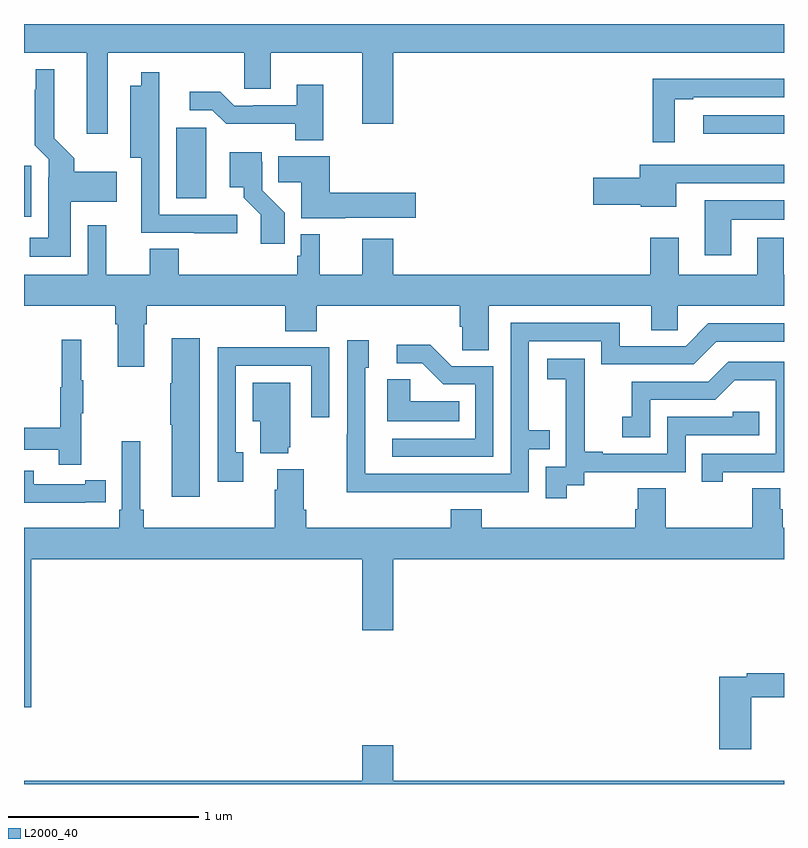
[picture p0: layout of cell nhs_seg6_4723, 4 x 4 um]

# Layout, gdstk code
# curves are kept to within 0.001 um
import gdstk
lib = gdstk.Library(unit=1e-6, precision=1e-09)
def R(c, l, rs):  # rectangles x0, y0, x1, y1
    for r in rs: c.add(gdstk.rectangle(r[:2], r[2:], *l))
def P(c, l, *ps):  # polygons
    for p in ps: c.add(gdstk.Polygon(p, *l))
L2000_40 = (2000, 40)

nhs_seg6_4723 = lib.new_cell('nhs_seg6_4723')
R(nhs_seg6_4723, L2000_40, [(391,934.485,391.039,934.753), (391.802,934.582,391.96,934.953), (394.575,934.922,395,935.019)])
P(nhs_seg6_4723, L2000_40, [(391.441,935.348),(392.16,935.348),(392.16,935.158),(392.299,935.158),(392.299,935.348),(392.78,935.348),(392.78,934.974),(392.944,934.974),(392.944,935.348),(395,935.348),(395,935.5),(391,935.5),(391,935.348),(391.331,935.348),(391.331,934.923),(391.441,934.923)],
  [(391.246,934.565),(391.489,934.565),(391.489,934.723),(391.264,934.723),(391.264,934.794),(391.159,934.9),(391.159,935.263),(391.061,935.263),(391.061,935.153),(391.057,935.153),(391.057,934.862),(391.131,934.788),(391.131,934.694),(391.127,934.694),(391.127,934.375),(391.029,934.375),(391.029,934.274),(391.246,934.274)],
  [(392.122,934.497),(391.713,934.497),(391.713,935.245),(391.616,935.245),(391.616,935.176),(391.559,935.176),(391.559,934.796),(391.617,934.796),(391.617,934.401),(391.897,934.401),(391.897,934.399),(392.122,934.399)],
  [(394.426,935.103),(394.522,935.103),(394.522,935.115),(395,935.115),(395,935.212),(394.309,935.212),(394.309,934.878),(394.426,934.878)],
  [(392.575,935.179),(392.435,935.179),(392.435,935.073),(392.206,935.073),(392.206,935.07),(392.106,935.07),(392.033,935.143),(391.872,935.143),(391.872,935.046),(391.992,935.046),(392.065,934.974),(392.428,934.974),(392.428,934.889),(392.575,934.889)],
  [(392.372,934.506),(392.253,934.625),(392.253,934.776),(392.251,934.776),(392.251,934.825),(392.084,934.825),(392.084,934.64),(392.156,934.64),(392.156,934.585),(392.247,934.495),(392.247,934.344),(392.372,934.344)],
  [(392.692,934.481),(393.061,934.481),(393.061,934.611),(392.609,934.611),(392.609,934.804),(392.338,934.804),(392.338,934.666),(392.459,934.666),(392.459,934.478),(392.692,934.478)],
  [(394.432,934.662),(395,934.662),(395,934.759),(394.241,934.759),(394.241,934.691),(393.996,934.691),(393.996,934.549),(394.245,934.549),(394.245,934.538),(394.432,934.538)],
  [(394.723,934.471),(395,934.471),(395,934.572),(394.583,934.572),(394.583,934.284),(394.723,934.284)],
  [(391.633,933.92),(391.646,933.92),(391.646,934.016),(392.375,934.016),(392.375,933.883),(392.54,933.883),(392.54,934.016),(393.293,934.016),(393.293,933.907),(393.306,933.907),(393.306,933.784),(393.445,933.784),(393.445,934.016),(394.301,934.016),(394.301,933.889),(394.44,933.889),(394.44,934.016),(395,934.016),(395,934.18),(394.999,934.18),(394.999,934.375),(394.859,934.375),(394.859,934.18),(394.447,934.18),(394.447,934.375),(394.295,934.375),(394.295,934.18),(392.944,934.18),(392.944,934.369),(392.78,934.369),(392.78,934.18),(392.556,934.18),(392.556,934.393),(392.457,934.393),(392.457,934.281),(392.437,934.281),(392.437,934.18),(391.814,934.18),(391.814,934.316),(391.661,934.316),(391.661,934.18),(391.434,934.18),(391.434,934.441),(391.335,934.441),(391.335,934.18),(391,934.18),(391,934.016),(391.481,934.016),(391.481,933.92),(391.493,933.92),(391.493,933.696),(391.633,933.696)],
  [(393.161,933.036),(393.657,933.036),(393.657,933.261),(393.767,933.261),(393.767,933.362),(393.657,933.362),(393.657,933.831),(394.038,933.831),(394.038,933.708),(394.524,933.708),(394.644,933.828),(395,933.828),(395,933.924),(394.602,933.924),(394.482,933.804),(394.135,933.804),(394.135,933.927),(393.561,933.927),(393.561,933.132),(392.796,933.132),(392.796,933.69),(392.815,933.69),(392.815,933.835),(392.7,933.835),(392.7,933.341),(392.698,933.341),(392.698,933.035)],
  [(391.924,933.847),(391.778,933.847),(391.778,933.608),(391.771,933.608),(391.771,933.391),(391.778,933.391),(391.778,933.012),(391.924,933.012)],
  [(391.301,933.451),(391.312,933.451),(391.312,933.625),(391.301,933.625),(391.301,933.838),(391.198,933.838),(391.198,933.588),(391.191,933.588),(391.191,933.374),(391,933.374),(391,933.258),(391.183,933.258),(391.183,933.18),(391.301,933.18)],
  [(393.471,933.699),(393.252,933.699),(393.139,933.812),(392.961,933.812),(392.961,933.714),(393.095,933.714),(393.206,933.603),(393.375,933.603),(393.375,933.318),(392.937,933.318),(392.937,933.222),(393.471,933.222)],
  [(392.155,933.246),(392.115,933.246),(392.115,933.702),(392.511,933.702),(392.511,933.429),(392.607,933.429),(392.607,933.798),(392.291,933.798),(392.291,933.8),(392.019,933.8),(392.019,933.09),(392.155,933.09)],
  [(393.856,933.073),(393.948,933.073),(393.948,933.141),(394.482,933.141),(394.482,933.336),(394.871,933.336),(394.871,933.459),(394.731,933.459),(394.731,933.432),(394.386,933.432),(394.386,933.237),(394.045,933.237),(394.045,933.25),(393.95,933.25),(393.95,933.533),(393.951,933.533),(393.951,933.739),(393.753,933.739),(393.753,933.629),(393.851,933.629),(393.851,933.401),(393.852,933.401),(393.852,933.171),(393.747,933.171),(393.747,933.003),(393.856,933.003)],
  [(394.678,933.141),(395,933.141),(395,933.723),(394.706,933.723),(394.601,933.618),(394.198,933.618),(394.198,933.433),(394.149,933.433),(394.149,933.324),(394.296,933.324),(394.296,933.522),(394.638,933.522),(394.742,933.626),(394.956,933.626),(394.956,933.237),(394.567,933.237),(394.567,933.09),(394.678,933.09)],
  [(393.29,933.514),(393.033,933.514),(393.033,933.629),(392.912,933.629),(392.912,933.41),(393.29,933.41)],
  [(392.39,933.273),(392.401,933.273),(392.401,933.613),(392.204,933.613),(392.204,933.41),(392.243,933.41),(392.243,933.242),(392.39,933.242)],
  [(392.78,932.31),(392.944,932.31),(392.944,932.684),(395,932.684),(395,932.848),(394.994,932.848),(394.994,932.946),(394.981,932.946),(394.981,933.056),(394.834,933.056),(394.834,932.848),(394.377,932.848),(394.377,933.056),(394.229,933.056),(394.229,932.946),(394.217,932.946),(394.217,932.848),(393.41,932.848),(393.41,932.947),(393.245,932.947),(393.245,932.848),(392.486,932.848),(392.486,932.944),(392.473,932.944),(392.473,933.157),(392.333,933.157),(392.333,933.05),(392.321,933.05),(392.321,932.848),(391.631,932.848),(391.631,932.944),(391.612,932.944),(391.612,933.304),(391.515,933.304),(391.515,932.944),(391.502,932.944),(391.502,932.848),(391,932.848),(391,931.905),(391.037,931.905),(391.037,932.684),(392.78,932.684)],
  [(391.322,932.982),(391.43,932.982),(391.43,933.098),(391.322,933.098),(391.322,933.078),(391.05,933.078),(391.05,933.15),(391,933.15),(391,932.981),(391.322,932.981)],
  [(394.828,931.956),(395,931.956),(395,932.084),(394.804,932.084),(394.804,932.064),(394.658,932.064),(394.658,931.683),(394.828,931.683)],
  [(395,931.516),(392.944,931.516),(392.944,931.705),(392.78,931.705),(392.78,931.516),(391,931.516),(391,931.5),(395,931.5)])

lib.write_gds('nhs_seg6_4723.gds')
